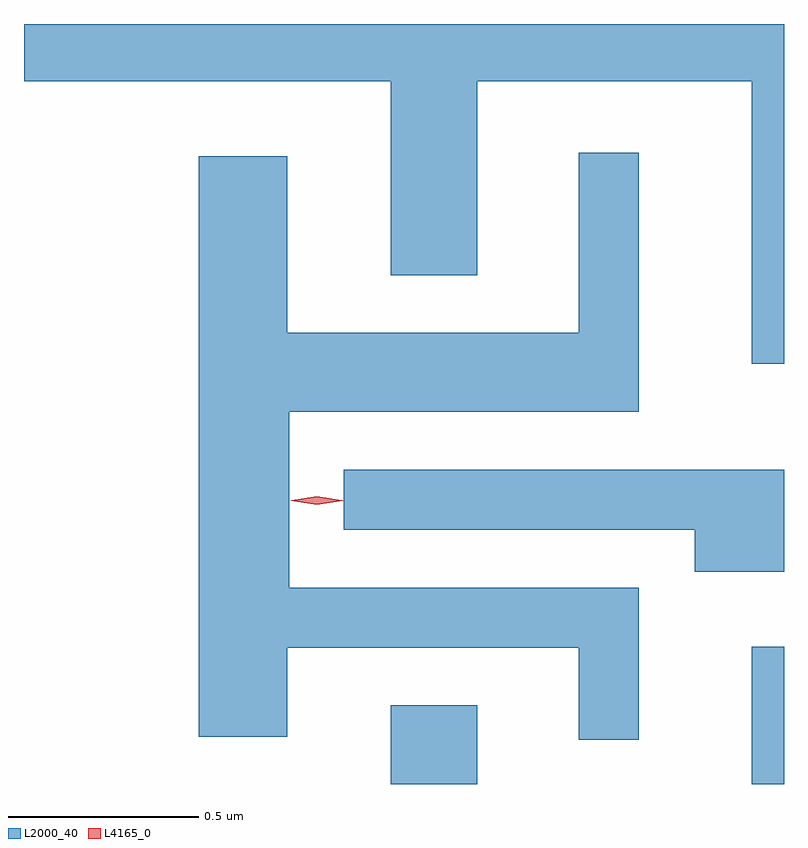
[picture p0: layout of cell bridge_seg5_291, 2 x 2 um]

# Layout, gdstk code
import gdstk
lib = gdstk.Library(unit=1e-6, precision=1e-09)
def R(c, l, rs):  # rectangles x0, y0, x1, y1
    for r in rs: c.add(gdstk.rectangle(r[:2], r[2:], *l))
def P(c, l, *ps):  # polygons
    for p in ps: c.add(gdstk.Polygon(p, *l))
L2000_40 = (2000, 40)
L4165_0 = (4165, 0)

bridge_seg5_291 = lib.new_cell('bridge_seg5_291')
R(bridge_seg5_291, L2000_40, [(919.171,1481.587,919.399,1481.794), (920.121,1481.587,920.206,1481.948)])
P(bridge_seg5_291, L2000_40, [(920.206,1483.587),(918.206,1483.587),(918.206,1483.436),(919.171,1483.436),(919.171,1482.926),(919.399,1482.926),(919.399,1483.436),(920.121,1483.436),(920.121,1482.693),(920.206,1482.693)],
  [(919.824,1482.104),(918.904,1482.104),(918.904,1482.566),(919.824,1482.566),(919.824,1483.248),(919.666,1483.248),(919.666,1482.774),(918.899,1482.774),(918.899,1483.239),(918.666,1483.239),(918.666,1481.711),(918.899,1481.711),(918.899,1481.946),(919.666,1481.946),(919.666,1481.703),(919.824,1481.703)],
  [(920.206,1482.414),(919.048,1482.414),(919.048,1482.256),(919.971,1482.256),(919.971,1482.146),(920.206,1482.146)])
P(bridge_seg5_291, L4165_0, [(918.977,1482.322),(918.908,1482.332),(918.907,1482.332),(918.908,1482.333),(918.977,1482.342),(919.046,1482.333),(919.046,1482.332),(919.046,1482.332)],
  [(918.977,1482.324),(918.911,1482.333),(918.91,1482.334),(918.911,1482.334),(918.977,1482.344),(919.042,1482.334),(919.043,1482.334),(919.042,1482.333)])

lib.write_gds('bridge_seg5_291.gds')
